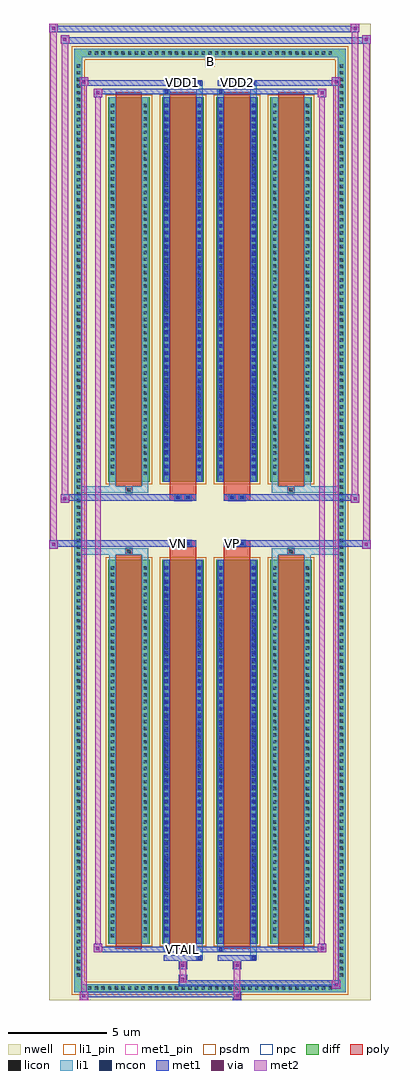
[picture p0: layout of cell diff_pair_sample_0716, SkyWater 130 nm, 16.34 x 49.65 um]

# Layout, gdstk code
import gdstk
lib = gdstk.Library(unit=1e-6, precision=5e-09)
def R(c, l, rs):  # rectangles x0, y0, x1, y1
    for r in rs: c.add(gdstk.rectangle(r[:2], r[2:], *l))
def A(c, l, x, y, w, h, nx, ny, dx, dy):  # array of equal rectangles
    R(c, l, [(x+i*dx, y+j*dy, x+i*dx+w, y+j*dy+h) for i in range(nx) for j in range(ny)])
def P(c, l, *ps):  # polygons
    for p in ps: c.add(gdstk.Polygon(p, *l))
nwell = (64, 20)
diff = (65, 20)
poly = (66, 20)
licon = (66, 44)
li1_pin = (67, 16)
li1 = (67, 20)
mcon = (67, 44)
met1_pin = (68, 16)
met1 = (68, 20)
via = (68, 44)
met2 = (69, 20)
psdm = (94, 20)
npc = (95, 20)

diff_pair_sample_0716 = lib.new_cell('diff_pair_sample_0716')
R(diff_pair_sample_0716, nwell, [(-8.17,-24.39,8.17,25.26), (-5.49,-22.58,-0.01,-0.8), (0.01,-22.58,5.49,-0.8), (-5.49,0.8,-0.01,22.58), (0.01,0.8,5.49,22.58)])
A(diff_pair_sample_0716, diff, -6.325, -23.99, 0.41, 0.41, 37, 2, 0.34, 47.57)
A(diff_pair_sample_0716, diff, -6.9, -23.325, 0.41, 0.41, 1, 137, 0, 0.34)
A(diff_pair_sample_0716, diff, 6.49, -23.325, 0.41, 0.41, 1, 137, 0, 0.34)
A(diff_pair_sample_0716, diff, -5.18, -21.535, 2.11, 19.55, 4, 2, 2.75, 23.52)
R(diff_pair_sample_0716, diff, [(-6.325,-23.99,6.325,-23.58), (-6.9,-23.325,-6.49,23.325), (6.49,-23.325,6.9,23.325), (-6.325,23.58,6.325,23.99)])
P(diff_pair_sample_0716, diff, [(6.9,23.99),(-6.9,23.99),(-6.9,-23.58),(-6.49,-23.58),(-6.49,23.58),(6.49,23.58),(6.49,-23.58),(-6.49,-23.58),(-6.9,-23.58),(-6.9,-23.99),(6.9,-23.99)])
A(diff_pair_sample_0716, poly, -4.79, -21.785, 1.33, 20.05, 4, 2, 2.75, 23.52)
R(diff_pair_sample_0716, poly, [(-4.29,-1.735,-3.96,-1.405), (-4.29,-1.735,-3.96,-1.405), (-2.04,-1.735,-0.71,-1.33), (0.71,-1.735,2.04,-1.33), (3.96,-1.735,4.29,-1.405), (3.96,-1.735,4.29,-1.405), (-2.04,-1.33,-0.71,-1), (-1.79,-1.33,-1.46,-1), (-1.29,-1.33,-0.96,-1), (0.71,-1.33,2.04,-1), (0.96,-1.33,1.29,-1), (1.46,-1.33,1.79,-1), (-2.04,1,-0.71,1.33), (-1.79,1,-1.46,1.33), (-1.29,1,-0.96,1.33), (0.71,1,2.04,1.33), (0.96,1,1.29,1.33), (1.46,1,1.79,1.33), (-2.04,1.33,-0.71,1.735), (0.71,1.33,2.04,1.735), (-4.29,1.405,-3.96,1.735), (-4.29,1.405,-3.96,1.735), (3.96,1.405,4.29,1.735), (3.96,1.405,4.29,1.735)])
A(diff_pair_sample_0716, licon, -6.205, -23.87, 0.17, 0.17, 37, 2, 0.34, 47.57)
A(diff_pair_sample_0716, licon, -6.78, -23.205, 0.17, 0.17, 1, 137, 0, 0.34)
A(diff_pair_sample_0716, licon, 6.61, -23.205, 0.17, 0.17, 1, 137, 0, 0.34)
A(diff_pair_sample_0716, licon, -5.04, -21.195, 0.17, 0.17, 1, 56, 0, 0.34)
A(diff_pair_sample_0716, licon, -3.38, -21.195, 0.17, 0.17, 1, 56, 0, 0.34)
A(diff_pair_sample_0716, licon, -2.29, -21.195, 0.17, 0.17, 1, 56, 0, 0.34)
A(diff_pair_sample_0716, licon, -0.63, -21.195, 0.17, 0.17, 1, 56, 0, 0.34)
A(diff_pair_sample_0716, licon, 0.46, -21.195, 0.17, 0.17, 1, 56, 0, 0.34)
A(diff_pair_sample_0716, licon, 2.12, -21.195, 0.17, 0.17, 1, 56, 0, 0.34)
A(diff_pair_sample_0716, licon, 3.21, -21.195, 0.17, 0.17, 1, 56, 0, 0.34)
A(diff_pair_sample_0716, licon, 4.87, -21.195, 0.17, 0.17, 1, 56, 0, 0.34)
A(diff_pair_sample_0716, licon, -5.04, 2.325, 0.17, 0.17, 1, 56, 0, 0.34)
A(diff_pair_sample_0716, licon, -3.38, 2.325, 0.17, 0.17, 1, 56, 0, 0.34)
A(diff_pair_sample_0716, licon, -2.29, 2.325, 0.17, 0.17, 1, 56, 0, 0.34)
A(diff_pair_sample_0716, licon, -0.63, 2.325, 0.17, 0.17, 1, 56, 0, 0.34)
A(diff_pair_sample_0716, licon, 0.46, 2.325, 0.17, 0.17, 1, 56, 0, 0.34)
A(diff_pair_sample_0716, licon, 2.12, 2.325, 0.17, 0.17, 1, 56, 0, 0.34)
A(diff_pair_sample_0716, licon, 3.21, 2.325, 0.17, 0.17, 1, 56, 0, 0.34)
A(diff_pair_sample_0716, licon, 4.87, 2.325, 0.17, 0.17, 1, 56, 0, 0.34)
R(diff_pair_sample_0716, licon, [(-4.21,-1.655,-4.04,-1.485), (4.04,-1.655,4.21,-1.485), (-1.71,-1.25,-1.54,-1.08), (-1.21,-1.25,-1.04,-1.08), (1.04,-1.25,1.21,-1.08), (1.54,-1.25,1.71,-1.08), (-1.71,1.08,-1.54,1.25), (-1.21,1.08,-1.04,1.25), (1.04,1.08,1.21,1.25), (1.54,1.08,1.71,1.25), (-4.21,1.485,-4.04,1.655), (4.04,1.485,4.21,1.655)])
R(diff_pair_sample_0716, li1_pin, [(-0.25,23.08,0.25,23.58)])
A(diff_pair_sample_0716, li1, -6.285, -23.95, 0.33, 0.33, 37, 2, 0.34, 47.57)
A(diff_pair_sample_0716, li1, -6.86, -23.285, 0.33, 0.33, 1, 137, 0, 0.34)
A(diff_pair_sample_0716, li1, 6.53, -23.285, 0.33, 0.33, 1, 137, 0, 0.34)
A(diff_pair_sample_0716, li1, -5.12, -21.275, 0.33, 0.33, 1, 56, 0, 0.34)
A(diff_pair_sample_0716, li1, -3.46, -21.275, 0.33, 0.33, 1, 56, 0, 0.34)
A(diff_pair_sample_0716, li1, -2.37, -21.275, 0.33, 0.33, 1, 56, 0, 0.34)
A(diff_pair_sample_0716, li1, -0.71, -21.275, 0.33, 0.33, 1, 56, 0, 0.34)
A(diff_pair_sample_0716, li1, 0.38, -21.275, 0.33, 0.33, 1, 56, 0, 0.34)
A(diff_pair_sample_0716, li1, 2.04, -21.275, 0.33, 0.33, 1, 56, 0, 0.34)
A(diff_pair_sample_0716, li1, 3.13, -21.275, 0.33, 0.33, 1, 56, 0, 0.34)
A(diff_pair_sample_0716, li1, 4.79, -21.275, 0.33, 0.33, 1, 56, 0, 0.34)
A(diff_pair_sample_0716, li1, -2.29, -21.205, 0.17, 0.17, 1, 53, 0, 0.36)
A(diff_pair_sample_0716, li1, -0.63, -21.205, 0.17, 0.17, 1, 53, 0, 0.36)
A(diff_pair_sample_0716, li1, 0.46, -21.205, 0.17, 0.17, 1, 53, 0, 0.36)
A(diff_pair_sample_0716, li1, 2.12, -21.205, 0.17, 0.17, 1, 53, 0, 0.36)
A(diff_pair_sample_0716, li1, -5.12, 2.245, 0.33, 0.33, 1, 56, 0, 0.34)
A(diff_pair_sample_0716, li1, -3.46, 2.245, 0.33, 0.33, 1, 56, 0, 0.34)
A(diff_pair_sample_0716, li1, -2.37, 2.245, 0.33, 0.33, 1, 56, 0, 0.34)
A(diff_pair_sample_0716, li1, -0.71, 2.245, 0.33, 0.33, 1, 56, 0, 0.34)
A(diff_pair_sample_0716, li1, 0.38, 2.245, 0.33, 0.33, 1, 56, 0, 0.34)
A(diff_pair_sample_0716, li1, 2.04, 2.245, 0.33, 0.33, 1, 56, 0, 0.34)
A(diff_pair_sample_0716, li1, 3.13, 2.245, 0.33, 0.33, 1, 56, 0, 0.34)
A(diff_pair_sample_0716, li1, 4.79, 2.245, 0.33, 0.33, 1, 56, 0, 0.34)
A(diff_pair_sample_0716, li1, -2.29, 2.315, 0.17, 0.17, 1, 53, 0, 0.36)
A(diff_pair_sample_0716, li1, -0.63, 2.315, 0.17, 0.17, 1, 53, 0, 0.36)
A(diff_pair_sample_0716, li1, 0.46, 2.315, 0.17, 0.17, 1, 53, 0, 0.36)
A(diff_pair_sample_0716, li1, 2.12, 2.315, 0.17, 0.17, 1, 53, 0, 0.36)
R(diff_pair_sample_0716, li1, [(-6.9,-23.99,-6.49,-23.58), (-6.9,-23.99,-6.49,-23.58), (-6.49,-23.99,6.49,-23.58), (6.49,-23.99,6.9,-23.58), (6.49,-23.99,6.9,-23.58), (-6.9,-23.58,-6.49,23.58), (6.49,-23.58,6.9,23.58), (-0.71,-22.34,-0.38,-21.535), (-0.63,-22.34,-0.46,-22.17), (2.04,-22.34,2.37,-21.535), (2.12,-22.34,2.29,-22.17), (-2.37,-21.91,-2.04,-21.535), (-2.29,-21.91,-2.12,-21.74), (0.38,-21.91,0.71,-21.535), (0.46,-21.91,0.63,-21.74), (-5.12,-21.535,-4.79,-1.985), (-3.46,-21.535,-3.13,-1.985), (-2.37,-21.535,-2.04,-1.985), (-0.71,-21.535,-0.38,-1.985), (0.38,-21.535,0.71,-1.985), (2.04,-21.535,2.37,-1.985), (3.13,-21.535,3.46,-1.985), (4.79,-21.535,5.12,-1.985), (-2.29,-21.205,-2.12,-2.315), (-0.63,-21.205,-0.46,-2.315), (0.46,-21.205,0.63,-2.315), (2.12,-21.205,2.29,-2.315), (-5.12,-1.985,-4.79,-1.405), (-3.46,-1.985,-3.13,-1.405), (3.13,-1.985,3.46,-1.405), (4.79,-1.985,5.12,-1.405), (-6.9,-1.735,-4.29,-1.405), (-5.12,-1.735,-4.29,-1.405), (-4.29,-1.735,-3.96,-1.405), (-3.96,-1.735,-3.13,-1.405), (3.13,-1.735,3.96,-1.405), (3.96,-1.735,4.29,-1.405), (3.96,-1.735,6.9,-1.405), (4.29,-1.735,5.12,-1.405), (-1.79,-1.33,-1.46,-1), (-1.29,-1.33,-0.96,-1), (0.96,-1.33,1.29,-1), (1.46,-1.33,1.79,-1), (-1.79,1,-1.46,1.33), (-1.29,1,-0.96,1.33), (0.96,1,1.29,1.33), (1.46,1,1.79,1.33), (-6.9,1.405,-4.29,1.735), (-5.12,1.405,-4.29,1.735), (-5.12,1.405,-4.79,1.985), (-4.29,1.405,-3.96,1.735), (-3.96,1.405,-3.13,1.735), (-3.46,1.405,-3.13,1.985), (3.13,1.405,3.96,1.735), (3.13,1.405,3.46,1.985), (3.96,1.405,4.29,1.735), (3.96,1.405,6.9,1.735), (4.29,1.405,5.12,1.735), (4.79,1.405,5.12,1.985), (-5.12,1.985,-4.79,21.535), (-3.46,1.985,-3.13,21.535), (-2.37,1.985,-2.04,21.535), (-0.71,1.985,-0.38,21.535), (0.38,1.985,0.71,21.535), (2.04,1.985,2.37,21.535), (3.13,1.985,3.46,21.535), (4.79,1.985,5.12,21.535), (-2.29,2.315,-2.12,21.205), (-0.63,2.315,-0.46,21.205), (0.46,2.315,0.63,21.205), (2.12,2.315,2.29,21.205), (-2.37,21.535,-2.04,21.91), (-0.71,21.535,-0.38,22.34), (0.38,21.535,0.71,21.91), (2.04,21.535,2.37,22.34), (-2.29,21.74,-2.12,21.91), (0.46,21.74,0.63,21.91), (-0.63,22.17,-0.46,22.34), (2.12,22.17,2.29,22.34), (-6.9,23.58,-6.49,23.99), (-6.9,23.58,-6.49,23.99), (-6.49,23.58,6.49,23.99), (6.49,23.58,6.9,23.99), (6.49,23.58,6.9,23.99)])
A(diff_pair_sample_0716, mcon, -2.29, -21.205, 0.17, 0.17, 1, 53, 0, 0.36)
A(diff_pair_sample_0716, mcon, -0.63, -21.205, 0.17, 0.17, 1, 53, 0, 0.36)
A(diff_pair_sample_0716, mcon, 0.46, -21.205, 0.17, 0.17, 1, 53, 0, 0.36)
A(diff_pair_sample_0716, mcon, 2.12, -21.205, 0.17, 0.17, 1, 53, 0, 0.36)
A(diff_pair_sample_0716, mcon, -2.29, 2.315, 0.17, 0.17, 1, 53, 0, 0.36)
A(diff_pair_sample_0716, mcon, -0.63, 2.315, 0.17, 0.17, 1, 53, 0, 0.36)
A(diff_pair_sample_0716, mcon, 0.46, 2.315, 0.17, 0.17, 1, 53, 0, 0.36)
A(diff_pair_sample_0716, mcon, 2.12, 2.315, 0.17, 0.17, 1, 53, 0, 0.36)
R(diff_pair_sample_0716, mcon, [(-0.63,-22.34,-0.46,-22.17), (2.12,-22.34,2.29,-22.17), (-2.29,-21.91,-2.12,-21.74), (0.46,-21.91,0.63,-21.74), (-1.71,-1.25,-1.54,-1.08), (-1.21,-1.25,-1.04,-1.08), (1.04,-1.25,1.21,-1.08), (1.54,-1.25,1.71,-1.08), (-1.71,1.08,-1.54,1.25), (-1.21,1.08,-1.04,1.25), (1.04,1.08,1.21,1.25), (1.54,1.08,1.71,1.25), (-2.29,21.74,-2.12,21.91), (0.46,21.74,0.63,21.91), (-0.63,22.17,-0.46,22.34), (2.12,22.17,2.29,22.34)])
R(diff_pair_sample_0716, met1_pin, [(-1.51,-21.95,-1.24,-21.68), (-1.76,-1.29,-1.49,-1.02), (0.99,-1.29,1.26,-1.02), (-1.51,22.13,-1.24,22.4), (1.24,22.13,1.51,22.4)])
A(diff_pair_sample_0716, met1, -2.35, -21.265, 0.29, 0.29, 1, 53, 0, 0.36)
A(diff_pair_sample_0716, met1, -0.69, -21.265, 0.29, 0.29, 1, 53, 0, 0.36)
A(diff_pair_sample_0716, met1, 0.4, -21.265, 0.29, 0.29, 1, 53, 0, 0.36)
A(diff_pair_sample_0716, met1, 2.06, -21.265, 0.29, 0.29, 1, 53, 0, 0.36)
A(diff_pair_sample_0716, met1, -2.35, 2.255, 0.29, 0.29, 1, 53, 0, 0.36)
A(diff_pair_sample_0716, met1, -0.69, 2.255, 0.29, 0.29, 1, 53, 0, 0.36)
A(diff_pair_sample_0716, met1, 0.4, 2.255, 0.29, 0.29, 1, 53, 0, 0.36)
A(diff_pair_sample_0716, met1, 2.06, 2.255, 0.29, 0.29, 1, 53, 0, 0.36)
R(diff_pair_sample_0716, met1, [(-6.63,-24.39,-6.2,-23.96), (1.16,-24.39,1.59,-23.96), (-6.63,-24.25,1.59,-23.96), (6.2,-23.82,6.63,-23.39), (-1.59,-23.68,6.63,-23.39), (-1.59,-23.54,-1.16,-23.11), (-1.59,-22.83,-1.16,-22.4), (1.16,-22.83,1.59,-22.4), (-2.35,-22.4,-0.4,-22.11), (-0.69,-22.4,-0.4,-22.11), (0.4,-22.4,2.35,-22.11), (2.06,-22.4,2.35,-22.11), (-5.92,-21.97,-5.49,-21.54), (-5.92,-21.97,-2.35,-21.68), (-2.35,-21.97,-2.06,-21.68), (-2.35,-21.97,-0.4,-21.68), (-0.4,-21.97,0.4,-21.68), (0.4,-21.97,0.69,-21.68), (0.4,-21.97,2.35,-21.68), (2.35,-21.97,5.92,-21.68), (5.49,-21.97,5.92,-21.54), (-2.35,-21.535,-2.06,-1.985), (-0.69,-21.535,-0.4,-1.985), (0.4,-21.535,0.69,-1.985), (2.06,-21.535,2.35,-1.985), (-8.17,-1.43,-7.74,-1), (7.74,-1.43,8.17,-1), (-8.17,-1.33,-0.71,-1), (-2.04,-1.33,-0.71,-1), (0.71,-1.33,2.04,-1), (0.71,-1.33,8.17,-1), (-1.77,-1.31,-1.48,-1.02), (-1.27,-1.31,-0.98,-1.02), (0.98,-1.31,1.27,-1.02), (1.48,-1.31,1.77,-1.02), (-7.6,0.9,-7.17,1.33), (7.17,0.9,7.6,1.33), (-7.6,1,-2.04,1.33), (-2.04,1,-0.71,1.33), (0.71,1,2.04,1.33), (2.04,1,7.6,1.33), (-1.77,1.02,-1.48,1.31), (-1.27,1.02,-0.98,1.31), (0.98,1.02,1.27,1.31), (1.48,1.02,1.77,1.31), (-2.35,1.985,-2.06,21.535), (-0.69,1.985,-0.4,21.535), (0.4,1.985,0.69,21.535), (2.06,1.985,2.35,21.535), (-5.92,21.54,-5.49,21.97), (5.49,21.54,5.92,21.97), (-5.92,21.68,-2.35,21.97), (-2.35,21.68,-2.06,21.97), (-2.35,21.68,-0.4,21.97), (-0.4,21.68,0.4,21.97), (0.4,21.68,0.69,21.97), (0.4,21.68,2.35,21.97), (2.35,21.68,5.92,21.97), (-6.63,22.11,-6.2,22.54), (-6.63,22.11,-2.35,22.4), (-2.35,22.11,-0.4,22.4), (-0.69,22.11,-0.4,22.4), (0.4,22.11,2.35,22.4), (2.06,22.11,2.35,22.4), (2.35,22.11,6.63,22.4), (6.2,22.11,6.63,22.54), (-7.6,24.26,-7.17,24.69), (-7.6,24.26,-5.49,24.59), (-5.49,24.26,5.49,24.59), (5.49,24.26,8.17,24.59), (7.74,24.26,8.17,24.69), (-8.17,24.83,-7.74,25.26), (-8.17,24.83,-5.49,25.16), (-5.49,24.83,5.49,25.16), (5.49,24.83,7.6,25.16), (7.17,24.83,7.6,25.26)])
R(diff_pair_sample_0716, via, [(-6.49,-24.25,-6.34,-24.1), (1.3,-24.25,1.45,-24.1), (6.34,-23.68,6.49,-23.53), (-1.45,-23.4,-1.3,-23.25), (-1.45,-22.69,-1.3,-22.54), (1.3,-22.69,1.45,-22.54), (-5.78,-21.83,-5.63,-21.68), (5.63,-21.83,5.78,-21.68), (-8.03,-1.29,-7.88,-1.14), (7.88,-1.29,8.03,-1.14), (-7.46,1.04,-7.31,1.19), (7.31,1.04,7.46,1.19), (-5.78,21.68,-5.63,21.83), (5.63,21.68,5.78,21.83), (-6.49,22.25,-6.34,22.4), (6.34,22.25,6.49,22.4), (-7.46,24.4,-7.31,24.55), (7.88,24.4,8.03,24.55), (-8.03,24.97,-7.88,25.12), (7.31,24.97,7.46,25.12)])
R(diff_pair_sample_0716, met2, [(-6.63,-24.39,-6.2,-23.96), (-6.56,-24.39,-6.27,22.54), (-6.27,-24.39,-6.2,-23.96), (-6.58,-24.34,-6.25,-24.01), (1.21,-24.34,1.54,-24.01), (1.21,-24.01,1.54,-22.78), (6.2,-23.82,6.63,-23.39), (6.27,-23.82,6.56,22.54), (6.56,-23.82,6.63,-23.39), (6.25,-23.77,6.58,-23.44), (-1.54,-23.49,-1.21,-23.16), (-1.54,-23.16,-1.21,-22.78), (-1.54,-22.78,-1.21,-22.45), (1.21,-22.78,1.54,-22.45), (-5.92,-21.97,-5.49,-21.54), (-5.85,-21.97,-5.56,21.97), (-5.56,-21.97,-5.49,-21.54), (5.49,-21.97,5.92,-21.54), (5.56,-21.97,5.85,21.97), (5.85,-21.97,5.92,-21.54), (-5.87,-21.92,-5.54,-21.59), (5.54,-21.92,5.87,-21.59), (-8.17,-1.43,-7.74,-1), (-8.12,-1.43,-7.79,25.26), (-7.79,-1.43,-7.74,-1), (7.74,-1.43,8.17,-1), (7.79,-1.43,8.12,24.69), (8.12,-1.43,8.17,-1), (-8.12,-1.38,-7.79,-1.05), (7.79,-1.38,8.12,-1.05), (-7.6,0.9,-7.17,1.33), (-7.55,0.9,-7.22,24.69), (-7.22,0.9,-7.17,1.33), (7.17,0.9,7.6,1.33), (7.22,0.9,7.55,25.26), (7.55,0.9,7.6,1.33), (-7.55,0.95,-7.22,1.28), (7.22,0.95,7.55,1.28), (-5.92,21.54,-5.49,21.97), (-5.56,21.54,-5.49,21.97), (5.49,21.54,5.92,21.97), (5.85,21.54,5.92,21.97), (-5.87,21.59,-5.54,21.92), (5.54,21.59,5.87,21.92), (-6.63,22.11,-6.2,22.54), (-6.27,22.11,-6.2,22.54), (6.2,22.11,6.63,22.54), (6.56,22.11,6.63,22.54), (-6.58,22.16,-6.25,22.49), (6.25,22.16,6.58,22.49), (-7.6,24.26,-7.17,24.69), (-7.22,24.26,-7.17,24.69), (7.74,24.26,8.17,24.69), (8.12,24.26,8.17,24.69), (-7.55,24.31,-7.22,24.64), (7.79,24.31,8.12,24.64), (-8.17,24.83,-7.74,25.26), (-7.79,24.83,-7.74,25.26), (7.17,24.83,7.6,25.26), (7.55,24.83,7.6,25.26), (-8.12,24.88,-7.79,25.21), (7.22,24.88,7.55,25.21)])
A(diff_pair_sample_0716, psdm, -5.31, -21.665, 2.37, 19.81, 4, 2, 2.75, 23.52)
P(diff_pair_sample_0716, psdm, [(7.03,24.12),(-7.03,24.12),(-7.03,-23.45),(-6.36,-23.45),(-6.36,23.45),(6.36,23.45),(6.36,-23.45),(-6.36,-23.45),(-7.03,-23.45),(-7.03,-24.12),(7.03,-24.12)])
R(diff_pair_sample_0716, npc, [(-4.31,-1.755,-3.94,-1.385), (3.94,-1.755,4.31,-1.385), (-1.81,-1.35,-1.44,-0.98), (-1.81,-1.35,-0.94,-0.98), (-1.81,-1.35,-0.94,-0.98), (-1.31,-1.35,-0.94,-0.98), (0.94,-1.35,1.31,-0.98), (0.94,-1.35,1.81,-0.98), (0.94,-1.35,1.81,-0.98), (1.44,-1.35,1.81,-0.98), (-1.81,0.98,-1.44,1.35), (-1.81,0.98,-0.94,1.35), (-1.81,0.98,-0.94,1.35), (-1.31,0.98,-0.94,1.35), (0.94,0.98,1.31,1.35), (0.94,0.98,1.81,1.35), (0.94,0.98,1.81,1.35), (1.44,0.98,1.81,1.35), (-4.31,1.385,-3.94,1.755), (3.94,1.385,4.31,1.755)])
diff_pair_sample_0716.add(gdstk.Label('VTAIL', (-1.375,-21.815), layer=68, texttype=5))
diff_pair_sample_0716.add(gdstk.Label('VN', (-1.625,-1.155), layer=68, texttype=5))
diff_pair_sample_0716.add(gdstk.Label('VP', (1.125,-1.155), layer=68, texttype=5))
diff_pair_sample_0716.add(gdstk.Label('B', (0,23.33), layer=67, texttype=5))
diff_pair_sample_0716.add(gdstk.Label('VDD2', (1.375,22.265), layer=68, texttype=5))
diff_pair_sample_0716.add(gdstk.Label('VDD1', (-1.375,22.265), layer=68, texttype=5))

lib.write_gds('diff_pair_sample_0716.gds')
